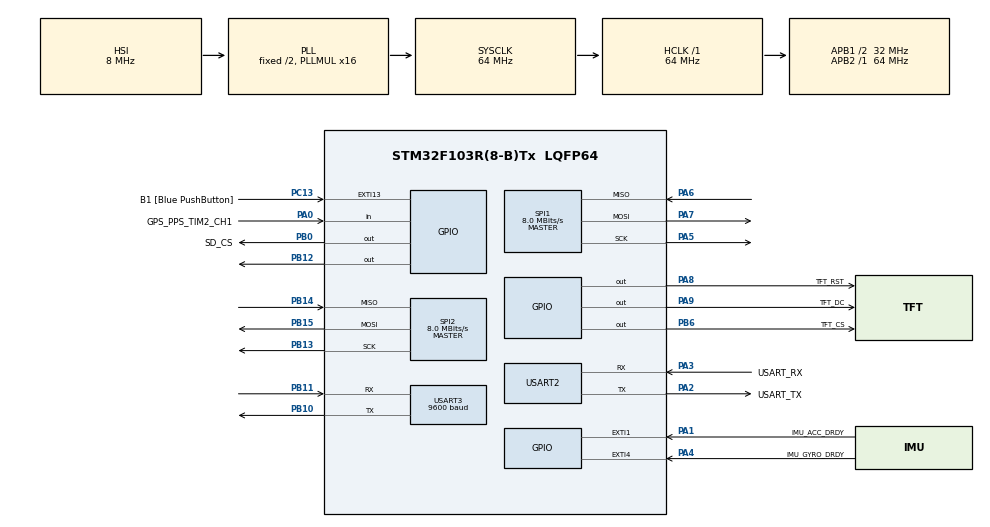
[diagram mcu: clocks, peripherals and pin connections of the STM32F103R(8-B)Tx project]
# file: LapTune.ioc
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Mcu.Family=STM32F1
Mcu.Name=STM32F103R(8-B)Tx
Mcu.Package=LQFP64
NVIC.EXTI15_10_IRQn=true\:3\:0\:false\:false\:true\:true\:true\:true
NVIC.PriorityGroup=NVIC_PRIORITYGROUP_4
NVIC.USART3_IRQn=true\:2\:0\:false\:false\:true\:true\:true\:true
PA13.GPIO_Label=TMS
PA13.Mode=Serial_Wire
PA13.Signal=SYS_JTMS-SWDIO
PA14.GPIO_Label=TCK
PA14.Mode=Serial_Wire
PA14.Signal=SYS_JTCK-SWCLK
PA2.GPIO_Label=USART_TX
PA2.GPIO_Mode=GPIO_MODE_AF_PP
PA2.GPIO_PuPd=GPIO_NOPULL
PA2.GPIO_Speed=GPIO_SPEED_FREQ_LOW
PA2.Mode=Asynchronous
PA2.Signal=USART2_TX
PA3.GPIO_Label=USART_RX
PA3.GPIO_Mode=GPIO_MODE_AF_PP
PA3.GPIO_PuPd=GPIO_NOPULL
PA3.GPIO_Speed=GPIO_SPEED_FREQ_LOW
PA3.Mode=Asynchronous
PA3.Signal=USART2_RX
PA5.Mode=Full_Duplex_Master
PA5.Signal=SPI1_SCK
PA6.GPIO_PuPd=GPIO_PULLUP
PA6.Mode=Full_Duplex_Master
PA6.Signal=SPI1_MISO
PA7.Mode=Full_Duplex_Master
PA7.Signal=SPI1_MOSI
PA8.GPIO_Label=TFT_RST
PA8.GPIO_Speed=GPIO_SPEED_FREQ_LOW
PA8.PinState=GPIO_PIN_SET
PA8.Signal=GPIO_Output
PA9.GPIO_Label=TFT_DC
PA9.GPIO_Speed=GPIO_SPEED_FREQ_LOW
PA9.PinState=GPIO_PIN_RESET
PA9.Signal=GPIO_Output
PB0.GPIO_Label=SD_CS
PB0.PinState=GPIO_PIN_SET
PB0.Signal=GPIO_Output
PB10.Mode=Asynchronous
PB10.Signal=USART3_TX
PB11.GPIO_PuPd=GPIO_PULLUP
PB11.Mode=Asynchronous
PB11.Signal=USART3_RX
PB12.PinState=GPIO_PIN_SET
PB12.Signal=GPIO_Output
PB13.Mode=Full_Duplex_Master
PB13.Signal=SPI2_SCK
PB14.Mode=Full_Duplex_Master
PB14.Signal=SPI2_MISO
PB15.Mode=Full_Duplex_Master
PB15.Signal=SPI2_MOSI
PB3.GPIO_Label=SWO
PB3.Signal=SYS_JTDO-TRACESWO
PB6.GPIO_Label=TFT_CS
PB6.GPIO_Speed=GPIO_SPEED_FREQ_LOW
PB6.PinState=GPIO_PIN_SET
PB6.Signal=GPIO_Output
PC13-TAMPER-RTC.GPIO_Label=B1 [Blue PushButton]
PC13-TAMPER-RTC.GPIO_PuPd=GPIO_NOPULL
PC13-TAMPER-RTC.Signal=GPXTI13
PC14-OSC32_IN.Mode=LSE-External-Oscillator
PC14-OSC32_IN.Signal=RCC_OSC32_IN
PC15-OSC32_OUT.Mode=LSE-External-Oscillator
PC15-OSC32_OUT.Signal=RCC_OSC32_OUT
PD0-OSC_IN.Mode=HSE-External-Clock-Source
PD0-OSC_IN.Signal=RCC_OSC_IN
PD1-OSC_OUT.Mode=HSE-External-Clock-Source
PD1-OSC_OUT.Signal=RCC_OSC_OUT
ProjectManager.HeapSize=0x200
ProjectManager.StackSize=0x400
ProjectManager.TargetToolchain=STM32CubeIDE
RCC.AHBFreq_Value=64000000
RCC.APB1CLKDivider=RCC_HCLK_DIV2
RCC.APB1Freq_Value=32000000
RCC.APB1TimFreq_Value=64000000
RCC.APB2Freq_Value=64000000
RCC.APB2TimFreq_Value=64000000
RCC.HCLKFreq_Value=64000000
RCC.PLLMUL=RCC_PLL_MUL16
RCC.RTCClockSelection=RCC_RTCCLKSOURCE_LSE
RCC.SYSCLKFreq_VALUE=64000000
RCC.SYSCLKSource=RCC_SYSCLKSOURCE_PLLCLK
RCC.USBFreq_Value=64000000
SPI1.BaudRatePrescaler=SPI_BAUDRATEPRESCALER_8
SPI1.CalculateBaudRate=8.0 MBits/s
SPI1.Direction=SPI_DIRECTION_2LINES
SPI1.Mode=SPI_MODE_MASTER
SPI1.VirtualType=VM_MASTER
SPI2.BaudRatePrescaler=SPI_BAUDRATEPRESCALER_4
SPI2.CLKPhase=SPI_PHASE_2EDGE
SPI2.CLKPolarity=SPI_POLARITY_HIGH
SPI2.CalculateBaudRate=8.0 MBits/s
SPI2.Direction=SPI_DIRECTION_2LINES
SPI2.Mode=SPI_MODE_MASTER
SPI2.VirtualType=VM_MASTER
USART2.VirtualMode=VM_ASYNC
USART3.BaudRate=9600
USART3.VirtualMode=VM_ASYNC
board=NUCLEO-F103RB
PA1.GPIO_Label=IMU_ACC_DRDY
PA1.GPIO_ModeDefaultEXTI=GPIO_MODE_IT_RISING
PA1.GPIO_PuPd=GPIO_PULLDOWN
PA1.Signal=GPXTI1
PA4.GPIO_Label=IMU_GYRO_DRDY
PA4.GPIO_ModeDefaultEXTI=GPIO_MODE_IT_RISING
PA4.GPIO_PuPd=GPIO_PULLDOWN
PA4.Signal=GPXTI4
PA0.GPIO_Label=GPS_PPS_TIM2_CH1
PA0.GPIO_PuPd=GPIO_PULLDOWN
PA0.Signal=GPIO_Input

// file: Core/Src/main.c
/* USER CODE BEGIN Header */
/**
  ******************************************************************************
  * @file           : main.c
  * @brief          : Main program body
  ******************************************************************************
  * @attention
  *
  * Copyright (c) 2025 STMicroelectronics.
  * All rights reserved.
  *
  * This software is licensed under terms that can be found in the LICENSE file
  * in the root directory of this software component.
  * If no LICENSE file comes with this software, it is provided AS-IS.
  *
  ******************************************************************************
  */
/* USER CODE END Header */
#include "main.h"

/* USER CODE BEGIN Includes */

#include "acc.h"
#include "boot_identity.h"
#include "timebase.h"
#include "memory_diag.h"
#include "imu_stream.h"
#include "acc_display.h"
#include "gps.h"
#include "gps_display.h"
#include "sd_spi.h"
#include "sd_logger.h"
#include <stdio.h>
#include <string.h>

/* USER CODE END Includes */

SPI_HandleTypeDef hspi1;
SPI_HandleTypeDef hspi2;

UART_HandleTypeDef huart2;
UART_HandleTypeDef huart3;

/* USER CODE BEGIN PV */

float ax, max_x=0, min_x=0, ay, max_y=0, min_y=0, az, max_z=0, min_z=0;
float gx, min_gx=0, max_gx=0, gy, min_gy=0, max_gy=0, gz, min_gz=0, max_gz=0;
static uint8_t sensor_ok, have_sample, sample_valid;
static uint32_t last_sensor_retry;
static uint8_t app_ready,tft_ready;
static uint32_t last_ui_slice;
static uint32_t last_ui_nr;

/* USER CODE END PV */

void SystemClock_Config(void);
static void MX_GPIO_Init(void);
static void MX_USART2_UART_Init(void);
static void MX_USART3_UART_Init(void);
static void MX_SPI1_Init(void);
static void MX_SPI2_Init(void);
/* USER CODE BEGIN PFP */
void Logger_OnImuRecord(const ImuRecord *record);

/* USER CODE END PFP */

/* USER CODE BEGIN 0 */
void Logger_ServiceIO(void)
{
  if (!app_ready) return;
  GPS_Process((uint32_t)(Timebase_NowUs()/1000U));
  ImuStream_Service();
}
static void ServiceAcquisition(void)
{
  if (!app_ready) return;
  GPS_Process((uint32_t)(Timebase_NowUs()/1000U));
  ImuStream_Service();
  ImuRecord latest;
  if (ImuStream_Latest(&latest) && latest.nr!=last_ui_nr) Logger_OnImuRecord(&latest);
  SDLogger_ConsumeImu();
}
void Logger_OnImuRecord(const ImuRecord *record)
{
    if (record->flags) {
      if (record->nr>=last_ui_nr) { last_ui_nr=record->nr; sample_valid=0; }
      return;
    }
    LSM6DS3_Sample sample;
    ImuStream_Scale(record,&sample);
    /* Old buffered samples update extrema without moving the live values backwards. */
    if (!have_sample) {
      min_x=max_x=sample.ax; min_y=max_y=sample.ay; min_z=max_z=sample.az;
      min_gx=max_gx=sample.gx; min_gy=max_gy=sample.gy; min_gz=max_gz=sample.gz;
      have_sample=1;
    }
    if (sample.ax>max_x) max_x=sample.ax;
    if (sample.ax<min_x) min_x=sample.ax;
    if (sample.ay>max_y) max_y=sample.ay;
    if (sample.ay<min_y) min_y=sample.ay;
    if (sample.az>max_z) max_z=sample.az;
    if (sample.az<min_z) min_z=sample.az;
    if (sample.gx>max_gx) max_gx=sample.gx;
    if (sample.gx<min_gx) min_gx=sample.gx;
    if (sample.gy>max_gy) max_gy=sample.gy;
    if (sample.gy<min_gy) min_gy=sample.gy;
    if (sample.gz>max_gz) max_gz=sample.gz;
    if (sample.gz<min_gz) min_gz=sample.gz;
    if (record->nr>=last_ui_nr) {
      last_ui_nr=record->nr; sample_valid=1;
      ax=sample.ax; ay=sample.ay; az=sample.az;
      gx=sample.gx; gy=sample.gy; gz=sample.gz;
    }

}

/* Storage may call this while a FatFs write is in progress. IMU acquisition
   continues in EXTI/DMA; only drain GPS here, never re-enter the SD queue. */
void SD_SPI_Service(void)
{
  if (!app_ready) return;
  GPS_Process((uint32_t)(Timebase_NowUs()/1000U));
}

static HAL_StatusTypeDef ShowLogState(void)
{
  static char previous[26];
  char text[26];
  SDLogger_StatusText(text);
  if (!strcmp(previous,text)) return HAL_OK;
  HAL_StatusTypeDef result=TFT_Text(4,120,text,1,sd_log_state==LOG_RECORDING || sd_log_state==LOG_STOPPED ? TFT_WHITE : TFT_RED,TFT_BLACK);
  if (result==HAL_OK) (void)strcpy(previous,text);
  return result;
}

/* USER CODE END 0 */

int main(void)
{

  /* USER CODE BEGIN 1 */
  MemoryDiag_Init();

  /* USER CODE END 1 */

  /* MCU Configuration--------------------------------------------------------*/

  /* Reset of all peripherals, Initializes the Flash interface and the Systick. */
  HAL_Init();

  /* Configure the system clock */
  SystemClock_Config();

  /* USER CODE BEGIN SysInit */
  /* Flash journal is updated before the acquisition clock/interrupts start. */
  if (!BootIdentity_Init()) Error_Handler();
  Timebase_Init();

  /* USER CODE END SysInit */

  /* Initialize all configured peripherals */
  MX_GPIO_Init();
  MX_USART2_UART_Init();
  MX_SPI2_Init();
  MX_SPI1_Init();
  MX_USART3_UART_Init();
  /* USER CODE BEGIN 2 */

  tft_ready=TFT_Init(&hspi1)==HAL_OK && AccDisplay_Init()==HAL_OK;
  if (GPS_Init(&huart3) != HAL_OK) Error_Handler();
  /* GPS configures 5 Hz and PPS asynchronously, independent of fix and SD. */
  app_ready=1; /* GPS RX/configuration can be serviced during initial SD setup. */
  SD_SPI_Bind(&hspi1);
  SDLogger_Start(); /* Prepare and sync the file before arming acquisition. */
  last_sensor_retry=HAL_GetTick()-1000U;

  /* USER CODE END 2 */

  /* Infinite loop */
  while (1)
  {

    /* USER CODE BEGIN 3 */
    ServiceAcquisition();
    uint32_t now=HAL_GetTick();
    if (sensor_ok && (uint32_t)(now-last_sensor_retry)>=1000U &&
        ImuStream_Stalled(1000000U)) {
      ImuStream_Stop(); sensor_ok=0;
    }
    if (!sensor_ok && (uint32_t)(now-last_sensor_retry)>=1000U) {
      ImuStream_Stop();
      sensor_ok=Logger_StartAcquisition();
      last_sensor_retry=HAL_GetTick();
    }
    Logger_ServiceStorage();
    if (!tft_ready || SDLogger_Backlogged() || (uint32_t)(HAL_GetTick()-last_ui_slice)<100U) {
      HAL_Delay(1U);
      continue;
    }
    last_ui_slice=HAL_GetTick();
    const IMU_DisplayData readings = {
      .accel = {ax, ay, az},
      .accel_min = {min_x, min_y, min_z},
      .accel_max = {max_x, max_y, max_z},
      .gyro = {gx, gy, gz},
      .gyro_min = {min_gx, min_gy, min_gz},
      .gyro_max = {max_gx, max_gy, max_gz}
    };
    if (AccDisplay_Update(HAL_GetTick(), &readings,
                          sensor_ok && have_sample && sample_valid) != HAL_OK) {
      tft_ready=0;
    }
    if (tft_ready && GPSDisplay_Update(HAL_GetTick(), GPS_GetData(), GPS_GetConfig()) != HAL_OK) {
      tft_ready=0;
    }
    if (tft_ready && ShowLogState()!=HAL_OK) tft_ready=0;
    HAL_Delay(1U);
  }
  /* USER CODE END 3 */
}

void SystemClock_Config(void)
{
  RCC_OscInitTypeDef RCC_OscInitStruct = {0};
  RCC_ClkInitTypeDef RCC_ClkInitStruct = {0};

  /** Initializes the RCC Oscillators according to the specified parameters
  * in the RCC_OscInitTypeDef structure.
  */
  RCC_OscInitStruct.OscillatorType = RCC_OSCILLATORTYPE_HSI;
  RCC_OscInitStruct.HSIState = RCC_HSI_ON;
  RCC_OscInitStruct.HSICalibrationValue = RCC_HSICALIBRATION_DEFAULT;
  RCC_OscInitStruct.PLL.PLLState = RCC_PLL_ON;
  RCC_OscInitStruct.PLL.PLLSource = RCC_PLLSOURCE_HSI_DIV2;
  RCC_OscInitStruct.PLL.PLLMUL = RCC_PLL_MUL16;
  if (HAL_RCC_OscConfig(&RCC_OscInitStruct) != HAL_OK)
  {
    Error_Handler();
  }

  /** Initializes the CPU, AHB and APB buses clocks
  */
  RCC_ClkInitStruct.ClockType = RCC_CLOCKTYPE_HCLK|RCC_CLOCKTYPE_SYSCLK
                              |RCC_CLOCKTYPE_PCLK1|RCC_CLOCKTYPE_PCLK2;
  RCC_ClkInitStruct.SYSCLKSource = RCC_SYSCLKSOURCE_PLLCLK;
  RCC_ClkInitStruct.AHBCLKDivider = RCC_SYSCLK_DIV1;
  RCC_ClkInitStruct.APB1CLKDivider = RCC_HCLK_DIV2;
  RCC_ClkInitStruct.APB2CLKDivider = RCC_HCLK_DIV1;

  if (HAL_RCC_ClockConfig(&RCC_ClkInitStruct, FLASH_LATENCY_2) != HAL_OK)
  {
    Error_Handler();
  }
}

/**
  * @brief SPI1: ST7735S, mode 0, 8 MHz at PCLK2=64 MHz.
  */
static void MX_SPI1_Init(void)
{
  hspi1.Instance = SPI1;
  hspi1.Init.Mode = SPI_MODE_MASTER;
  hspi1.Init.Direction = SPI_DIRECTION_2LINES;
  hspi1.Init.DataSize = SPI_DATASIZE_8BIT;
  hspi1.Init.CLKPolarity = SPI_POLARITY_LOW;
  hspi1.Init.CLKPhase = SPI_PHASE_1EDGE;
  hspi1.Init.NSS = SPI_NSS_SOFT;
  hspi1.Init.BaudRatePrescaler = SPI_BAUDRATEPRESCALER_8;
  hspi1.Init.FirstBit = SPI_FIRSTBIT_MSB;
  hspi1.Init.TIMode = SPI_TIMODE_DISABLE;
  hspi1.Init.CRCCalculation = SPI_CRCCALCULATION_DISABLE;
  hspi1.Init.CRCPolynomial = 10;
  if (HAL_SPI_Init(&hspi1) != HAL_OK) Error_Handler();
}

static void MX_SPI2_Init(void)
{

  /* SPI2 parameter configuration*/
  hspi2.Instance = SPI2;
  hspi2.Init.Mode = SPI_MODE_MASTER;
  hspi2.Init.Direction = SPI_DIRECTION_2LINES;
  hspi2.Init.DataSize = SPI_DATASIZE_8BIT;
  hspi2.Init.CLKPolarity = SPI_POLARITY_HIGH;
  hspi2.Init.CLKPhase = SPI_PHASE_2EDGE;
  hspi2.Init.NSS = SPI_NSS_SOFT;
  hspi2.Init.BaudRatePrescaler = SPI_BAUDRATEPRESCALER_4;
  hspi2.Init.FirstBit = SPI_FIRSTBIT_MSB;
  hspi2.Init.TIMode = SPI_TIMODE_DISABLE;
  hspi2.Init.CRCCalculation = SPI_CRCCALCULATION_DISABLE;
  hspi2.Init.CRCPolynomial = 10;
  if (HAL_SPI_Init(&hspi2) != HAL_OK)
  {
    Error_Handler();
  }

}

static void MX_USART2_UART_Init(void)
{

  huart2.Instance = USART2;
  huart2.Init.BaudRate = 115200;
  huart2.Init.WordLength = UART_WORDLENGTH_8B;
  huart2.Init.StopBits = UART_STOPBITS_1;
  huart2.Init.Parity = UART_PARITY_NONE;
  huart2.Init.Mode = UART_MODE_TX_RX;
  huart2.Init.HwFlowCtl = UART_HWCONTROL_NONE;
  huart2.Init.OverSampling = UART_OVERSAMPLING_16;
  if (HAL_UART_Init(&huart2) != HAL_OK)
  {
    Error_Handler();
  }

}

/**
  * @brief USART3: 9600 baud; configuration snapshot and output-mask test, no baud/rate changes.
  */
static void MX_USART3_UART_Init(void)
{
  huart3.Instance = USART3;
  huart3.Init.BaudRate = 9600;
  huart3.Init.WordLength = UART_WORDLENGTH_8B;
  huart3.Init.StopBits = UART_STOPBITS_1;
  huart3.Init.Parity = UART_PARITY_NONE;
  huart3.Init.Mode = UART_MODE_TX_RX;
  huart3.Init.HwFlowCtl = UART_HWCONTROL_NONE;
  huart3.Init.OverSampling = UART_OVERSAMPLING_16;
  if (HAL_UART_Init(&huart3) != HAL_OK) Error_Handler();
}

static void MX_GPIO_Init(void)
{
  GPIO_InitTypeDef GPIO_InitStruct = {0};

  /* GPIO Ports Clock Enable */
  __HAL_RCC_GPIOC_CLK_ENABLE();
  __HAL_RCC_GPIOD_CLK_ENABLE();
  __HAL_RCC_GPIOA_CLK_ENABLE();
  __HAL_RCC_GPIOB_CLK_ENABLE();

  /*Configure GPIO pin Output Level */
  HAL_GPIO_WritePin(TFT_DC_GPIO_Port, TFT_DC_Pin, GPIO_PIN_RESET);
  HAL_GPIO_WritePin(TFT_RST_GPIO_Port, TFT_RST_Pin, GPIO_PIN_SET);
  HAL_GPIO_WritePin(TFT_CS_GPIO_Port, TFT_CS_Pin, GPIO_PIN_SET);
  HAL_GPIO_WritePin(SD_CS_GPIO_Port, SD_CS_Pin, GPIO_PIN_SET);

  /*Configure GPIO pin Output Level */
  HAL_GPIO_WritePin(GPIOB, GPIO_PIN_12, GPIO_PIN_SET);

  /*Configure GPIO pin : B1_Pin */
  GPIO_InitStruct.Pin = B1_Pin;
  GPIO_InitStruct.Mode = GPIO_MODE_IT_RISING;
  GPIO_InitStruct.Pull = GPIO_NOPULL;
  HAL_GPIO_Init(B1_GPIO_Port, &GPIO_InitStruct);

  /*Configure TFT control pins PA8/PA9. PA5 is now SPI1 SCK. */
  GPIO_InitStruct.Pin = TFT_RST_Pin|TFT_DC_Pin;
  GPIO_InitStruct.Mode = GPIO_MODE_OUTPUT_PP;
  GPIO_InitStruct.Pull = GPIO_NOPULL;
  GPIO_InitStruct.Speed = GPIO_SPEED_FREQ_LOW;
  HAL_GPIO_Init(GPIOA, &GPIO_InitStruct);

  /*Configure TFT CS (PB6) and LSM6DS3 CS (PB12), both inactive high. */
  GPIO_InitStruct.Pin = GPIO_PIN_12|TFT_CS_Pin|SD_CS_Pin;
  GPIO_InitStruct.Mode = GPIO_MODE_OUTPUT_PP;
  GPIO_InitStruct.Pull = GPIO_NOPULL;
  GPIO_InitStruct.Speed = GPIO_SPEED_FREQ_LOW;
  HAL_GPIO_Init(GPIOB, &GPIO_InitStruct);

  /* EXTI interrupt init*/
  HAL_NVIC_SetPriority(EXTI15_10_IRQn, 3, 0);
  HAL_NVIC_EnableIRQ(EXTI15_10_IRQn);

  /* USER CODE BEGIN MX_GPIO_Init_2 */
  GPIO_InitStruct.Pin=GPIO_PIN_1|GPIO_PIN_4;
  GPIO_InitStruct.Mode=GPIO_MODE_IT_RISING;
  GPIO_InitStruct.Pull=GPIO_PULLDOWN;
  HAL_GPIO_Init(GPIOA,&GPIO_InitStruct);
  HAL_NVIC_SetPriority(EXTI1_IRQn,1,0); HAL_NVIC_EnableIRQ(EXTI1_IRQn);
  HAL_NVIC_SetPriority(EXTI4_IRQn,1,0); HAL_NVIC_EnableIRQ(EXTI4_IRQn);

  /* USER CODE END MX_GPIO_Init_2 */
}

/* USER CODE BEGIN 4 */
void HAL_GPIO_EXTI_Callback(uint16_t pin)
{
  /* Debounced B1 release requests foreground stop/resume; no FatFs in IRQ. */
  if (pin==GPIO_PIN_1) ImuStream_OnDrdy(0);
  else if (pin==GPIO_PIN_4) ImuStream_OnDrdy(1);
  else if (pin==B1_Pin) SDLogger_Button();
}

void HAL_SPI_TxRxCpltCallback(SPI_HandleTypeDef *spi)
{ if (spi==&hspi2) ImuStream_OnComplete(); }
void HAL_SPI_ErrorCallback(SPI_HandleTypeDef *spi)
{ if (spi==&hspi2) ImuStream_OnError(); }

void HAL_UART_RxCpltCallback(UART_HandleTypeDef *uart)
{
  GPS_OnRxComplete(uart);
}

void HAL_UART_TxCpltCallback(UART_HandleTypeDef *uart)
{ GPS_OnTxComplete(uart); }

void HAL_UART_ErrorCallback(UART_HandleTypeDef *uart)
{
  GPS_OnError(uart);
}

/* USER CODE END 4 */

void Error_Handler(void)
{
  __disable_irq();
  while (1)
  {
  }
}
